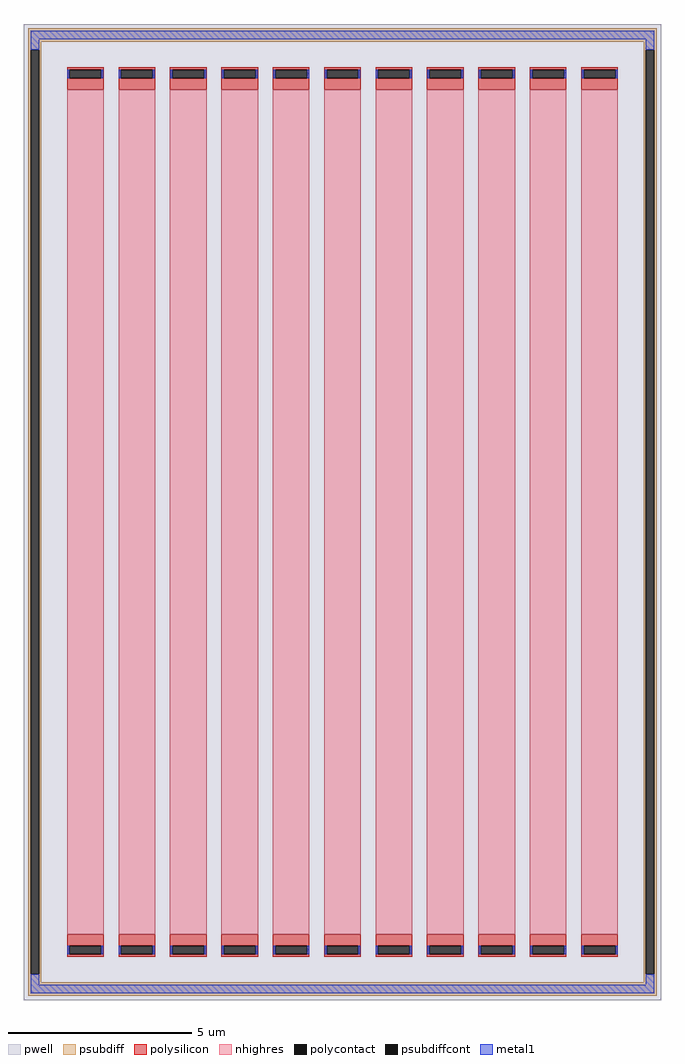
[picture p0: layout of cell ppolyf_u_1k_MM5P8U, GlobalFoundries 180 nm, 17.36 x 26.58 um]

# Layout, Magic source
magic
tech gf180mcuD
magscale 1 10
<< pwell >>
rect -1736 -2658 1736 2658
<< psubdiff >>
rect -1712 2562 1712 2634
rect -1712 2518 -1640 2562
rect -1712 -2518 -1699 2518
rect -1653 -2518 -1640 2518
rect 1640 2518 1712 2562
rect -1712 -2562 -1640 -2518
rect 1640 -2518 1653 2518
rect 1699 -2518 1712 2518
rect 1640 -2562 1712 -2518
rect -1712 -2634 1712 -2562
<< psubdiffcont >>
rect -1699 -2518 -1653 2518
rect 1653 -2518 1699 2518
<< polysilicon >>
rect -1500 2409 -1300 2422
rect -1500 2363 -1487 2409
rect -1313 2363 -1300 2409
rect -1500 2300 -1300 2363
rect -1500 -2363 -1300 -2300
rect -1500 -2409 -1487 -2363
rect -1313 -2409 -1300 -2363
rect -1500 -2422 -1300 -2409
rect -1220 2409 -1020 2422
rect -1220 2363 -1207 2409
rect -1033 2363 -1020 2409
rect -1220 2300 -1020 2363
rect -1220 -2363 -1020 -2300
rect -1220 -2409 -1207 -2363
rect -1033 -2409 -1020 -2363
rect -1220 -2422 -1020 -2409
rect -940 2409 -740 2422
rect -940 2363 -927 2409
rect -753 2363 -740 2409
rect -940 2300 -740 2363
rect -940 -2363 -740 -2300
rect -940 -2409 -927 -2363
rect -753 -2409 -740 -2363
rect -940 -2422 -740 -2409
rect -660 2409 -460 2422
rect -660 2363 -647 2409
rect -473 2363 -460 2409
rect -660 2300 -460 2363
rect -660 -2363 -460 -2300
rect -660 -2409 -647 -2363
rect -473 -2409 -460 -2363
rect -660 -2422 -460 -2409
rect -380 2409 -180 2422
rect -380 2363 -367 2409
rect -193 2363 -180 2409
rect -380 2300 -180 2363
rect -380 -2363 -180 -2300
rect -380 -2409 -367 -2363
rect -193 -2409 -180 -2363
rect -380 -2422 -180 -2409
rect -100 2409 100 2422
rect -100 2363 -87 2409
rect 87 2363 100 2409
rect -100 2300 100 2363
rect -100 -2363 100 -2300
rect -100 -2409 -87 -2363
rect 87 -2409 100 -2363
rect -100 -2422 100 -2409
rect 180 2409 380 2422
rect 180 2363 193 2409
rect 367 2363 380 2409
rect 180 2300 380 2363
rect 180 -2363 380 -2300
rect 180 -2409 193 -2363
rect 367 -2409 380 -2363
rect 180 -2422 380 -2409
rect 460 2409 660 2422
rect 460 2363 473 2409
rect 647 2363 660 2409
rect 460 2300 660 2363
rect 460 -2363 660 -2300
rect 460 -2409 473 -2363
rect 647 -2409 660 -2363
rect 460 -2422 660 -2409
rect 740 2409 940 2422
rect 740 2363 753 2409
rect 927 2363 940 2409
rect 740 2300 940 2363
rect 740 -2363 940 -2300
rect 740 -2409 753 -2363
rect 927 -2409 940 -2363
rect 740 -2422 940 -2409
rect 1020 2409 1220 2422
rect 1020 2363 1033 2409
rect 1207 2363 1220 2409
rect 1020 2300 1220 2363
rect 1020 -2363 1220 -2300
rect 1020 -2409 1033 -2363
rect 1207 -2409 1220 -2363
rect 1020 -2422 1220 -2409
rect 1300 2409 1500 2422
rect 1300 2363 1313 2409
rect 1487 2363 1500 2409
rect 1300 2300 1500 2363
rect 1300 -2363 1500 -2300
rect 1300 -2409 1313 -2363
rect 1487 -2409 1500 -2363
rect 1300 -2422 1500 -2409
<< polycontact >>
rect -1487 2363 -1313 2409
rect -1487 -2409 -1313 -2363
rect -1207 2363 -1033 2409
rect -1207 -2409 -1033 -2363
rect -927 2363 -753 2409
rect -927 -2409 -753 -2363
rect -647 2363 -473 2409
rect -647 -2409 -473 -2363
rect -367 2363 -193 2409
rect -367 -2409 -193 -2363
rect -87 2363 87 2409
rect -87 -2409 87 -2363
rect 193 2363 367 2409
rect 193 -2409 367 -2363
rect 473 2363 647 2409
rect 473 -2409 647 -2363
rect 753 2363 927 2409
rect 753 -2409 927 -2363
rect 1033 2363 1207 2409
rect 1033 -2409 1207 -2363
rect 1313 2363 1487 2409
rect 1313 -2409 1487 -2363
<< nhighres >>
rect -1500 -2300 -1300 2300
rect -1220 -2300 -1020 2300
rect -940 -2300 -740 2300
rect -660 -2300 -460 2300
rect -380 -2300 -180 2300
rect -100 -2300 100 2300
rect 180 -2300 380 2300
rect 460 -2300 660 2300
rect 740 -2300 940 2300
rect 1020 -2300 1220 2300
rect 1300 -2300 1500 2300
<< metal1 >>
rect -1699 2575 1699 2621
rect -1699 2518 -1653 2575
rect 1653 2518 1699 2575
rect -1498 2363 -1487 2409
rect -1313 2363 -1302 2409
rect -1218 2363 -1207 2409
rect -1033 2363 -1022 2409
rect -938 2363 -927 2409
rect -753 2363 -742 2409
rect -658 2363 -647 2409
rect -473 2363 -462 2409
rect -378 2363 -367 2409
rect -193 2363 -182 2409
rect -98 2363 -87 2409
rect 87 2363 98 2409
rect 182 2363 193 2409
rect 367 2363 378 2409
rect 462 2363 473 2409
rect 647 2363 658 2409
rect 742 2363 753 2409
rect 927 2363 938 2409
rect 1022 2363 1033 2409
rect 1207 2363 1218 2409
rect 1302 2363 1313 2409
rect 1487 2363 1498 2409
rect -1498 -2409 -1487 -2363
rect -1313 -2409 -1302 -2363
rect -1218 -2409 -1207 -2363
rect -1033 -2409 -1022 -2363
rect -938 -2409 -927 -2363
rect -753 -2409 -742 -2363
rect -658 -2409 -647 -2363
rect -473 -2409 -462 -2363
rect -378 -2409 -367 -2363
rect -193 -2409 -182 -2363
rect -98 -2409 -87 -2363
rect 87 -2409 98 -2363
rect 182 -2409 193 -2363
rect 367 -2409 378 -2363
rect 462 -2409 473 -2363
rect 647 -2409 658 -2363
rect 742 -2409 753 -2363
rect 927 -2409 938 -2363
rect 1022 -2409 1033 -2363
rect 1207 -2409 1218 -2363
rect 1302 -2409 1313 -2363
rect 1487 -2409 1498 -2363
rect -1699 -2575 -1653 -2518
rect 1653 -2575 1699 -2518
rect -1699 -2621 1699 -2575
<< properties >>
string FIXED_BBOX -1676 -2598 1676 2598
string gencell ppolyf_u_1k
string library gf180mcu
string parameters w 1.000 l 23.000 m 1 nx 11 wmin 1.000 lmin 1.000 class resistor rho 1000 val 23.0k dummy 0 dw 0.0 term 0.0 sterm 0.0 caplen 0.4 snake 0 glc 1 grc 1 gtc 0 gbc 0 roverlap 0 endcov 100 full_metal 1 compatible {ppolyf_u_1k ppolyf_u_1k_6p0}
<< end >>
